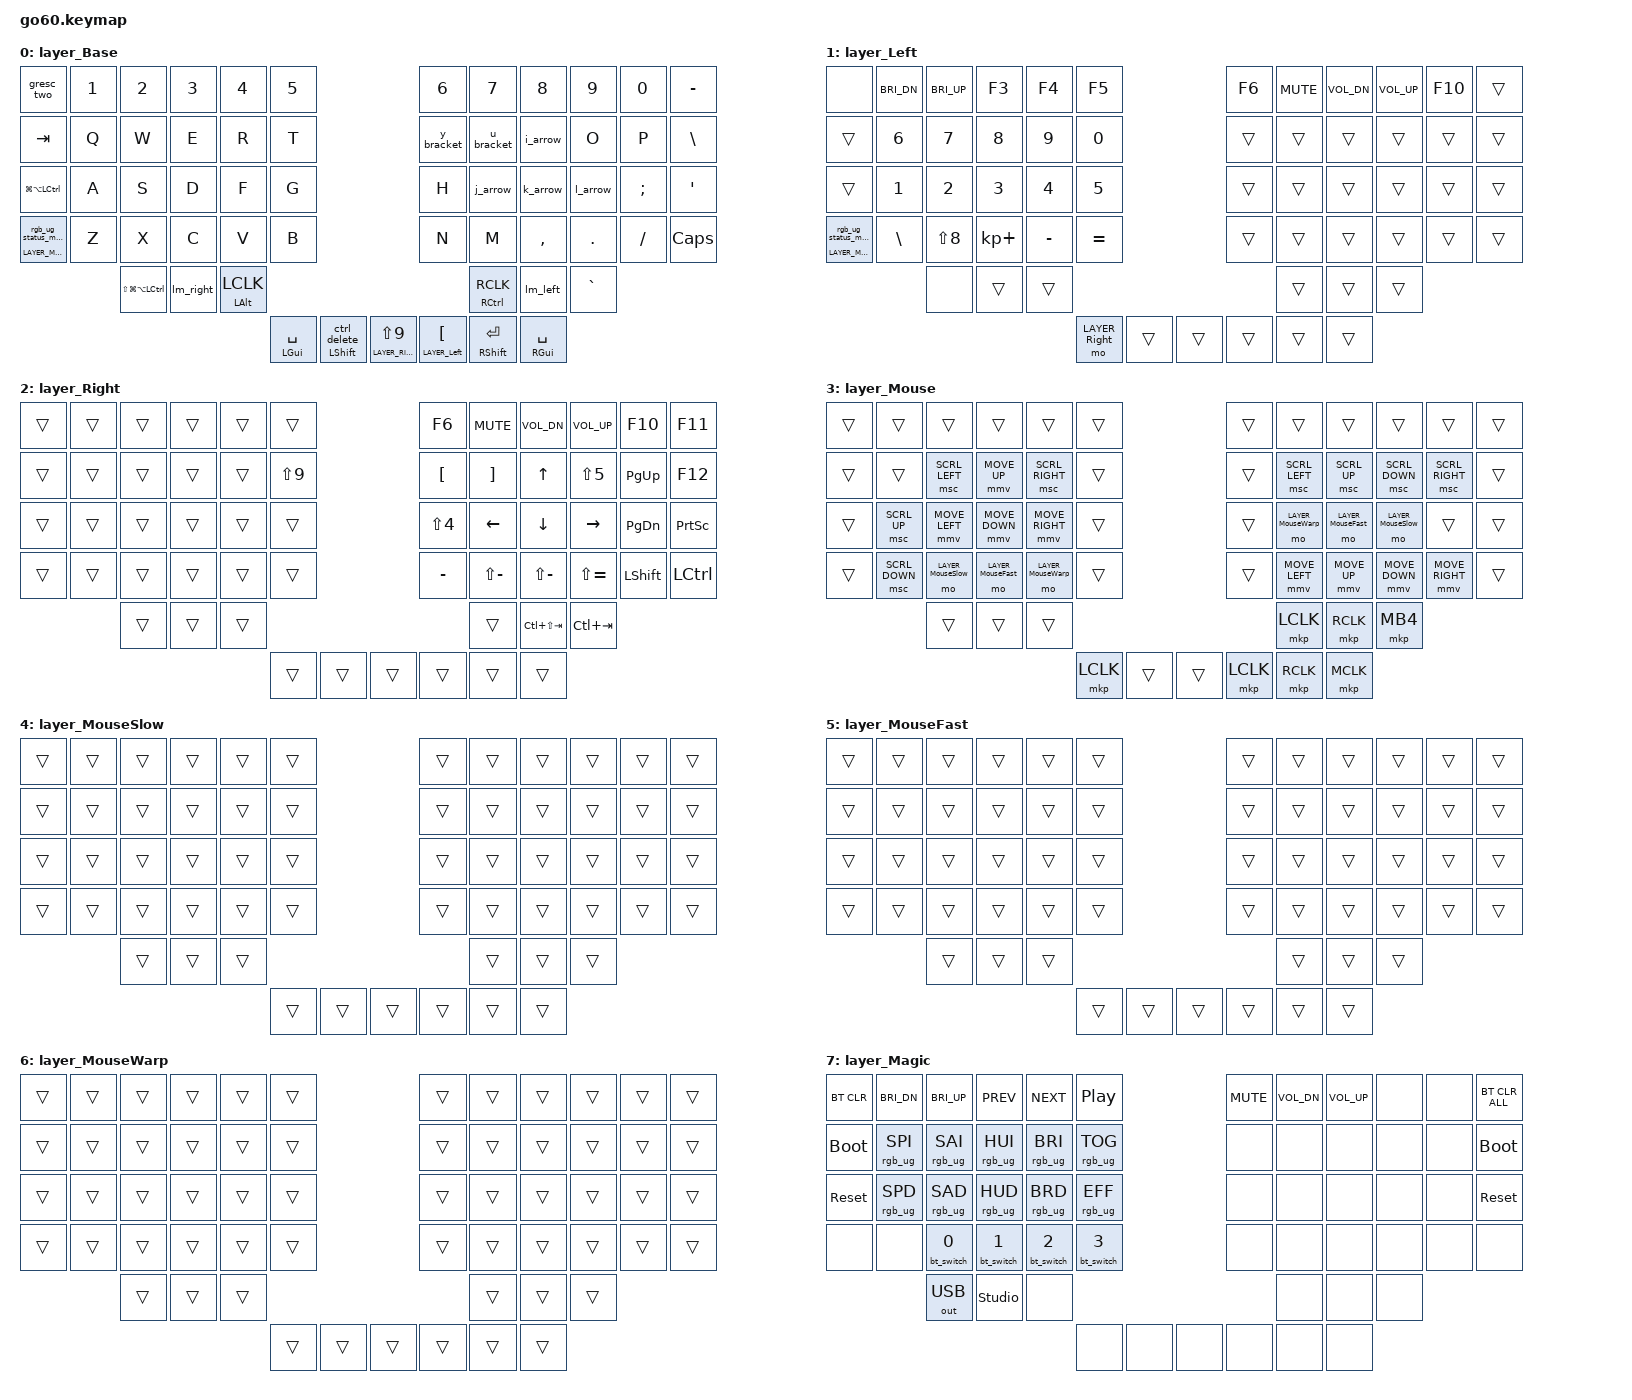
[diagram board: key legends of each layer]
/*
 * Copyright (c) 2020 The ZMK Contributors
 * Copyright (c) 2025 Innaworks Development Limited, trading as MoErgo
 *
 * SPDX-License-Identifier: MIT
 */


/* THIS FILE WAS GENERATED BY GO60 LAYOUT EDITOR
 *
 * This file was generated automatically. You may or may not want to
 * edit it directly.
 */

#include <behaviors.dtsi>

/* Include all behavior includes needed */

#include <dt-bindings/zmk/outputs.h>
#include <dt-bindings/zmk/keys.h>
#include <dt-bindings/zmk/bt.h>
#include <dt-bindings/zmk/rgb.h>

#include <input/processors.dtsi>
#include <dt-bindings/zmk/input_transform.h>
#include <zephyr/dt-bindings/input/input-event-codes.h>

/* On demand includes */
#include <dt-bindings/zmk/input_transform.h>
#include <dt-bindings/zmk/pointing.h>
#include <input/processors.dtsi>

/* Helper Macros, based on https://github.com/urob/zmk-helpers/ */

#pragma once

#define ZMK_HELPER_STRINGIFY(x) #x

// Preprocessor mechanism to overload macros, cf. https://stackoverflow.com/a/27051616/6114651
#define VARGS_(_10, _9, _8, _7, _6, _5, _4, _3, _2, _1, N, ...) N
#define VARGS(...) VARGS_(__VA_ARGS__, 10, 9, 8, 7, 6, 5, 4, 3, 2, 1, 0)
#define CONCAT_(a, b) a##b
#define CONCAT(a, b) CONCAT_(a, b)

#define ZMK_BEHAVIOR_CORE_tap_dance  \
    compatible = "zmk,behavior-tap-dance"; \
    #binding-cells = <0>

#define ZMK_BEHAVIOR(name, type, ...) \
    name: name { \
        ZMK_BEHAVIOR_CORE_ ## type; \
        __VA_ARGS__ \
    };

#define ZMK_TAP_DANCE(name, ...) \
    ZMK_BEHAVIOR(name, tap_dance, __VA_ARGS__)

#define ZMK_TD_LAYER(name, layer) \
    ZMK_TAP_DANCE(name, \
        tapping-term-ms = <200>; \
        bindings = <&mo layer>, <&to layer>; \
)





/* Key positions */

#define POS_LH_C6R1 0
#define POS_LH_C5R1 1
#define POS_LH_C4R1 2
#define POS_LH_C3R1 3
#define POS_LH_C2R1 4
#define POS_LH_C1R1 5
#define POS_RH_C1R1 6
#define POS_RH_C2R1 7
#define POS_RH_C3R1 8
#define POS_RH_C4R1 9
#define POS_RH_C5R1 10
#define POS_RH_C6R1 11
#define POS_LH_C6R2 12
#define POS_LH_C5R2 13
#define POS_LH_C4R2 14
#define POS_LH_C3R2 15
#define POS_LH_C2R2 16
#define POS_LH_C1R2 17
#define POS_RH_C1R2 18
#define POS_RH_C2R2 19
#define POS_RH_C3R2 20
#define POS_RH_C4R2 21
#define POS_RH_C5R2 22
#define POS_RH_C6R2 23
#define POS_LH_C6R3 24
#define POS_LH_C5R3 25
#define POS_LH_C4R3 26
#define POS_LH_C3R3 27
#define POS_LH_C2R3 28
#define POS_LH_C1R3 29
#define POS_RH_C1R3 30
#define POS_RH_C2R3 31
#define POS_RH_C3R3 32
#define POS_RH_C4R3 33
#define POS_RH_C5R3 34
#define POS_RH_C6R3 35
#define POS_LH_C6R4 36
#define POS_LH_C5R4 37
#define POS_LH_C4R4 38
#define POS_LH_C3R4 39
#define POS_LH_C2R4 40
#define POS_LH_C1R4 41
#define POS_RH_C1R4 42
#define POS_RH_C2R4 43
#define POS_RH_C3R4 44
#define POS_RH_C4R4 45
#define POS_RH_C5R4 46
#define POS_RH_C6R4 47
#define POS_LH_C4R5 48
#define POS_LH_C3R5 49
#define POS_LH_C2R5 50
#define POS_RH_C2R5 51
#define POS_RH_C3R5 52
#define POS_RH_C4R5 53
#define POS_LH_T1 54
#define POS_LH_T2 55
#define POS_LH_T3 56
#define POS_RH_T3 57
#define POS_RH_T2 58
#define POS_RH_T1 59


#define LEFT_HAND_KEYS \
  POS_LH_C1R1 POS_LH_C2R1 POS_LH_C3R1 POS_LH_C4R1 POS_LH_C5R1 POS_LH_C6R1 \
  POS_LH_C1R2 POS_LH_C2R2 POS_LH_C3R2 POS_LH_C4R2 POS_LH_C5R2 POS_LH_C6R2 \
  POS_LH_C1R3 POS_LH_C2R3 POS_LH_C3R3 POS_LH_C4R3 POS_LH_C5R3 POS_LH_C6R3 \
  POS_LH_C1R4 POS_LH_C2R4 POS_LH_C3R4 POS_LH_C4R4 POS_LH_C5R4 POS_LH_C6R4 \
              POS_LH_C2R5 POS_LH_C3R5 POS_LH_C4R5

#define RIGHT_HAND_KEYS \
  POS_RH_C1R1 POS_RH_C2R1 POS_RH_C3R1 POS_RH_C4R1 POS_RH_C5R1 POS_RH_C6R1 \
  POS_RH_C1R2 POS_RH_C2R2 POS_RH_C3R2 POS_RH_C4R2 POS_RH_C5R2 POS_RH_C6R2 \
  POS_RH_C1R3 POS_RH_C2R3 POS_RH_C3R3 POS_RH_C4R3 POS_RH_C5R3 POS_RH_C6R3 \
  POS_RH_C1R4 POS_RH_C2R4 POS_RH_C3R4 POS_RH_C4R4 POS_RH_C5R4 POS_RH_C6R4 \
              POS_RH_C2R5 POS_RH_C3R5 POS_RH_C4R5

#define THUMB_KEYS \
  POS_LH_T1 POS_LH_T2 POS_LH_T3 \
  POS_RH_T1 POS_RH_T2 POS_RH_T3

/* Environment and metadata defines */
#define KB_TYPE_GLOVE_80 1
#define KB_TYPE_GO_60    2

#define KB_TYPE          KB_TYPE_GO_60
#define EDITOR_LAYOUT_OS 'M'
#define EDITOR_HOST_OS   'M'

/* Automatically generated layer name defines */
#define LAYER_Base 0
#define LAYER_Left 1
#define LAYER_Right 2
#define LAYER_Mouse 3
#define LAYER_MouseSlow 4
#define LAYER_MouseFast 5
#define LAYER_MouseWarp 6
#define LAYER_Magic 7

/* To deal with the situation where there is no Lower layer, to keep &lower happy */
#ifndef LAYER_Lower
#define LAYER_Lower 0
#endif

/* Generated input processors */
/ {
    input_processors {
        zip_click_to_right_click_mapper: zip_click_to_right_click_mapper {
            compatible = "zmk,input-processor-code-mapper";
            #input-processor-cells = <0>;
            type = <INPUT_EV_KEY>;
            map = <INPUT_BTN_0 INPUT_BTN_1>;
        };
    };
};

/* Custom Device-tree */


/* Input Listeners */
&mmv_input_listener {
    // LAYER_MouseSlow
    LAYER_MouseSlow {
        layers = <LAYER_MouseSlow>;
        input-processors = <&zip_xy_scaler 1 9>;
    };
    // LAYER_MouseFast
    LAYER_MouseFast {
        layers = <LAYER_MouseFast>;
        input-processors = <&zip_xy_scaler 3 1>;
    };
    // LAYER_MouseWarp
    LAYER_MouseWarp {
        layers = <LAYER_MouseWarp>;
        input-processors = <&zip_xy_scaler 12 1>;
    };
};

&msc_input_listener {
    // LAYER_MouseSlow
    LAYER_MouseSlow {
        layers = <LAYER_MouseSlow>;
        input-processors = <&zip_scroll_scaler 1 9>;
    };
    // LAYER_MouseFast
    LAYER_MouseFast {
        layers = <LAYER_MouseFast>;
        input-processors = <&zip_scroll_scaler 3 1>;
    };
    // LAYER_MouseWarp
    LAYER_MouseWarp {
        layers = <LAYER_MouseWarp>;
        input-processors = <&zip_scroll_scaler 12 1>;
    };
};

&cirque_lh_listener {
    input-processors = <&zip_xy_scaler 4 5>, <&zip_xy_transform INPUT_TRANSFORM_Y_INVERT>, <&zip_xy_to_scroll_mapper>, <&zip_click_to_right_click_mapper>, <&zip_temp_layer LAYER_Mouse 250>;
    layer_MouseSlow {
        layers = <LAYER_MouseSlow>;
        input-processors = <&zip_xy_scaler 5 14>, <&zip_xy_transform INPUT_TRANSFORM_Y_INVERT>, <&zip_xy_to_scroll_mapper>, <&zip_click_to_right_click_mapper>, <&zip_temp_layer LAYER_Mouse 250>;
    };
    layer_MouseFast {
        layers = <LAYER_MouseFast>;
        input-processors = <&zip_xy_scaler 3 2>, <&zip_xy_transform INPUT_TRANSFORM_Y_INVERT>, <&zip_xy_to_scroll_mapper>, <&zip_click_to_right_click_mapper>, <&zip_temp_layer LAYER_Mouse 250>;
    };
    layer_MouseWarp {
        layers = <LAYER_MouseWarp>;
        input-processors = <&zip_xy_scaler 13 3>, <&zip_xy_transform INPUT_TRANSFORM_Y_INVERT>, <&zip_xy_to_scroll_mapper>, <&zip_click_to_right_click_mapper>, <&zip_temp_layer LAYER_Mouse 250>;
    };
};

&cirque_rh_listener {
    input-processors = <&zip_xy_scaler 2 1>, <&zip_temp_layer LAYER_Mouse 250>;
    layer_MouseSlow {
        layers = <LAYER_MouseSlow>;
        input-processors = <&zip_xy_scaler 1 1>, <&zip_temp_layer LAYER_Mouse 250>;
    };
    layer_MouseFast {
        layers = <LAYER_MouseFast>;
        input-processors = <&zip_xy_scaler 4 1>, <&zip_temp_layer LAYER_Mouse 250>;
    };
    layer_MouseWarp {
        layers = <LAYER_MouseWarp>;
        input-processors = <&zip_xy_scaler 7 1>, <&zip_temp_layer LAYER_Mouse 250>;
    };
};

/* System behavior and macros */
/ {
    behaviors {
        ZMK_TD_LAYER(lower, LAYER_Lower)
    };
};

/ {
    macros {
        rgb_ug_status_macro: rgb_ug_status_macro {
            label = "RGB_UG_STATUS";
            compatible = "zmk,behavior-macro";
            #binding-cells = <0>;
            bindings
                = <&rgb_ug RGB_STATUS>;
        };
    };
};

/ {
    macros {
        // Parametric BT host switch that also taps a unique chord so Blue Switch
        // on the current host can hand off the trackpad before the keyboard
        // hops profiles. Same chord on every Mac — destination is implicit
        // (the only peer). Bind LC+LA+LG+F19 in Blue Switch on each Mac.
        bt_switch: bt_switch {
            label = "BT_SWITCH";
            compatible = "zmk,behavior-macro-one-param";
            #binding-cells = <1>;
            bindings
                = <&kp LC(LA(LG(F19)))>,
                  <&out OUT_BLE>,
                  <&macro_param_1to2>,
                  <&bt BT_SEL MACRO_PLACEHOLDER>;
        };
    };
};

/ {
    behaviors {
        magic: magic {
            compatible = "zmk,behavior-hold-tap";
            label = "MAGIC_HOLD_TAP";
            #binding-cells = <2>;
            flavor = "tap-preferred";
            tapping-term-ms = <200>;
            bindings = <&mo>, <&rgb_ug_status_macro>;
        };
    };
};


/* Custom Defined Behaviors */
/ {
 behaviors {

    j_arrow: behavior-mod-morph-j {
            compatible = "zmk,behavior-mod-morph";
            #binding-cells = <0>;
            mods       = <(MOD_LALT|MOD_LGUI)>;
            keep-mods  = <(MOD_LALT|MOD_LGUI)>;
            bindings   = <&kp J>, <&kp LEFT>;
        };
        k_arrow: behavior-mod-morph-k {
            compatible = "zmk,behavior-mod-morph";
            #binding-cells = <0>;
            mods       = <(MOD_LALT|MOD_LGUI)>;
            keep-mods  = <(MOD_LALT|MOD_LGUI)>;
            bindings   = <&kp K>, <&kp DOWN>;
        };
        l_arrow: behavior-mod-morph-l {
            compatible = "zmk,behavior-mod-morph";
            #binding-cells = <0>;
            mods       = <(MOD_LALT|MOD_LGUI)>;
            keep-mods  = <(MOD_LALT|MOD_LGUI)>;
            bindings   = <&kp L>, <&kp RIGHT>;
        };
        i_arrow: behavior-mod-morph-i {
            compatible = "zmk,behavior-mod-morph";
            #binding-cells = <0>;
            mods       = <(MOD_LALT|MOD_LGUI)>;
            keep-mods  = <(MOD_LALT|MOD_LGUI)>;
            bindings   = <&kp I>, <&kp UP>;
        };
        y_bracket: behavior-mod-morph-y {
            compatible = "zmk,behavior-mod-morph";
            #binding-cells = <0>;
            mods       = <(MOD_LGUI)>;
            keep-mods  = <(MOD_LGUI)>;
            bindings   = <&kp Y>, <&kp LBKT>;
        };
        u_bracket: behavior-mod-morph-u {
            compatible = "zmk,behavior-mod-morph";
            #binding-cells = <0>;
            mods       = <(MOD_LGUI)>;
            keep-mods  = <(MOD_LGUI)>;
            bindings   = <&kp U>, <&kp RBKT>;
        };

        ctrl_delete: ctrl_delete {
            compatible = "zmk,behavior-mod-morph";
            #binding-cells = <0>;
            mods       = <(MOD_RCTL)>;
            bindings   = <&kp BSPC >, <&kp LA(BSPC)>;
keep-mods = <(MOD_RGUI|MOD_LGUI)>;


      };
        ctrl_delete_hold_tap: ctrl_delete_hold_tap {
            compatible = "zmk,behavior-hold-tap";
            #binding-cells = <2>;
    tapping-term-ms = <200>;
            bindings = <&kp>, <&ctrl_delete>;

      };
        gresc_two: gresc_two {
            compatible = "zmk,behavior-mod-morph";
            #binding-cells = <0>;
            bindings = <&kp ESC>, <&kp GRAVE>;
            mods = <(MOD_LSFT|MOD_RGUI|MOD_RSFT)>;
keep-mods = <(MOD_RGUI|MOD_LSFT)>;
        };

};
};

/* Automatically generated macro definitions */
/ {
    macros {

        lm_left: lm_left {
            label = "&LM_LEFT";
            compatible = "zmk,behavior-macro";
            #binding-cells = <0>;
            bindings = <&macro_press>
                , <&kp LSHFT>
                , <&mo LAYER_Left>
                , <&macro_pause_for_release>
                , <&macro_release>
                , <&kp LSHFT>
                , <&mo LAYER_Left>;
        };

        lm_right: lm_right {
            label = "&LM_RIGHT";
            compatible = "zmk,behavior-macro";
            #binding-cells = <0>;
            bindings = <&macro_press>
                , <&kp LSHFT>
                , <&mo LAYER_Right>
                , <&macro_pause_for_release>
                , <&macro_release>
                , <&kp LSHFT>
                , <&mo LAYER_Right>;
        };

        hyper_shift: hyper_shift {
            label = "&HYPER_SHIFT";
            compatible = "zmk,behavior-macro";
            #binding-cells = <0>;
            bindings = <&macro_press>
                , <&kp LG(LS(LA(LCTRL)))>
                , <&macro_pause_for_release>
                , <&macro_release>
                , <&kp LS(LG(LA(LCTRL)))>;
        };
    };
};

/* Automatically generated behavior definitions */
/ {
    behaviors {

        // Layer tap dance behaviors

        ZMK_TD_LAYER(td_LAYER_Left, 1)

        mod_click: mod_click {
            compatible = "zmk,behavior-hold-tap";
            #binding-cells = <2>;
            tapping-term-ms = <200>;
            bindings = <&kp>, <&mkp>;
        };

        mt_type: mt_type {
            compatible = "zmk,behavior-hold-tap";
            #binding-cells = <2>;
            tapping-term-ms = <150>;
            bindings = <&kp>, <&kp>;
            flavor = "balanced";
            require-prior-idle-ms = <100>;
        };

        mod_tap_custom: mod_tap_custom {
            compatible = "zmk,behavior-hold-tap";
            #binding-cells = <2>;
            tapping-term-ms = <200>;
            bindings = <&kp>, <&kp>;
        };
    };
};

/* Automatically generated combos definitions */


/* Automatically generated keymap */
/ {
    keymap {
        compatible = "zmk,keymap";


        layer_Base {
            bindings = <
           &gresc_two  &kp N1                      &kp N2     &kp N3                &kp N4  &kp N5                                                                                                                                        &kp N6                 &kp N7     &kp N8     &kp N9    &kp N0       &kp MINUS
              &kp TAB   &kp Q                       &kp W      &kp E                 &kp R   &kp T                                                                                                                                         &y_bracket             &u_bracket   &i_arrow      &kp O     &kp P        &kp BSLH
             &kp LG(LA(LCTRL))   &kp A                       &kp S      &kp D                 &kp F   &kp G                                                                                                                                         &kp H               &j_arrow   &k_arrow   &l_arrow  &kp SEMI         &kp SQT
 &magic LAYER_Magic 0   &kp Z                       &kp X      &kp C                 &kp V   &kp B                                                                                                                                         &kp N                  &kp M  &kp COMMA    &kp DOT  &kp FSLH  &kp CAPS
                               &kp LS(LG(LA(LCTRL)))   &lm_right  &mod_click LALT LCLK                                                                                                                                                        &mod_click RCTRL RCLK   &lm_left  &kp GRAVE
                                                                                                    &mt_type LGUI SPACE  &ctrl_delete_hold_tap  LSHFT 0  &lt LAYER_Right LS(N9)  &lt LAYER_Left LBKT  &mt RSHFT RET  &mt_type RGUI SPACE
            >;
        };

        layer_Left {
            bindings = <
                &none  &kp C_BRI_DN  &kp C_BRI_UP       &kp F3     &kp F4     &kp F5                                                           &kp F6  &kp C_MUTE  &kp C_VOL_DN  &kp C_VOL_UP  &kp F10  &trans
               &trans        &kp N6        &kp N7       &kp N8     &kp N9     &kp N0                                                           &trans      &trans        &trans        &trans   &trans  &trans
               &trans        &kp N1        &kp N2       &kp N3     &kp N4     &kp N5                                                           &trans      &trans        &trans        &trans   &trans  &trans
 &magic LAYER_Magic 0      &kp BSLH    &kp LS(N8)  &kp KP_PLUS  &kp MINUS  &kp EQUAL                                                           &trans      &trans        &trans        &trans   &trans  &trans
                                            &none       &trans     &trans                                                                                  &trans        &trans        &trans
                                                                                      &mo LAYER_Right  &trans  &trans  &trans  &trans  &trans
            >;
        };

        layer_Right {
            bindings = <
 &trans  &trans  &trans  &trans  &trans      &trans                                                      &kp F6     &kp C_MUTE     &kp C_VOL_DN   &kp C_VOL_UP    &kp F10    &kp F11
 &trans  &trans  &trans  &trans  &trans  &kp LS(N9)                                                    &kp LBKT       &kp RBKT           &kp UP     &kp LS(N5)  &kp PG_UP    &kp F12
 &trans  &trans  &trans  &trans  &trans      &trans                                                  &kp LS(N4)       &kp LEFT         &kp DOWN      &kp RIGHT  &kp PG_DN  &kp PSCRN
 &trans  &trans  &trans  &trans  &trans      &trans                                                   &kp MINUS  &kp LS(MINUS)    &kp LS(MINUS)  &kp LS(EQUAL)  &kp LSHFT  &kp LCTRL
                 &trans  &trans  &trans                                                                                 &trans  &kp LC(LS(TAB))    &kp LC(TAB)
                                                     &trans  &trans  &trans  &trans  &trans  &trans
            >;
        };

        layer_Mouse {
            bindings = <
 &trans          &trans               &trans               &trans               &trans  &trans                                                              &trans               &trans               &trans               &trans           &trans  &trans
 &trans          &trans       &msc SCRL_LEFT         &mmv MOVE_UP      &msc SCRL_RIGHT  &trans                                                              &trans       &msc SCRL_LEFT         &msc SCRL_UP       &msc SCRL_DOWN  &msc SCRL_RIGHT  &trans
 &trans    &msc SCRL_UP       &mmv MOVE_LEFT       &mmv MOVE_DOWN      &mmv MOVE_RIGHT  &trans                                                              &trans  &mo LAYER_MouseWarp  &mo LAYER_MouseFast  &mo LAYER_MouseSlow           &trans  &trans
 &trans  &msc SCRL_DOWN  &mo LAYER_MouseSlow  &mo LAYER_MouseFast  &mo LAYER_MouseWarp  &trans                                                              &trans       &mmv MOVE_LEFT         &mmv MOVE_UP       &mmv MOVE_DOWN  &mmv MOVE_RIGHT  &trans
                                      &trans               &trans               &trans                                                                                        &mkp LCLK            &mkp RCLK             &mkp MB4
                                                                                                &mkp LCLK  &trans  &trans  &mkp LCLK  &mkp RCLK  &mkp MCLK
            >;
        };

        layer_MouseSlow {
            bindings = <
 &trans  &trans  &trans  &trans  &trans  &trans                                                  &trans  &trans  &trans  &trans  &trans  &trans
 &trans  &trans  &trans  &trans  &trans  &trans                                                  &trans  &trans  &trans  &trans  &trans  &trans
 &trans  &trans  &trans  &trans  &trans  &trans                                                  &trans  &trans  &trans  &trans  &trans  &trans
 &trans  &trans  &trans  &trans  &trans  &trans                                                  &trans  &trans  &trans  &trans  &trans  &trans
                 &trans  &trans  &trans                                                                  &trans  &trans  &trans
                                                 &trans  &trans  &trans  &trans  &trans  &trans
            >;
        };

        layer_MouseFast {
            bindings = <
 &trans  &trans  &trans  &trans  &trans  &trans                                                  &trans  &trans  &trans  &trans  &trans  &trans
 &trans  &trans  &trans  &trans  &trans  &trans                                                  &trans  &trans  &trans  &trans  &trans  &trans
 &trans  &trans  &trans  &trans  &trans  &trans                                                  &trans  &trans  &trans  &trans  &trans  &trans
 &trans  &trans  &trans  &trans  &trans  &trans                                                  &trans  &trans  &trans  &trans  &trans  &trans
                 &trans  &trans  &trans                                                                  &trans  &trans  &trans
                                                 &trans  &trans  &trans  &trans  &trans  &trans
            >;
        };

        layer_MouseWarp {
            bindings = <
 &trans  &trans  &trans  &trans  &trans  &trans                                                  &trans  &trans  &trans  &trans  &trans  &trans
 &trans  &trans  &trans  &trans  &trans  &trans                                                  &trans  &trans  &trans  &trans  &trans  &trans
 &trans  &trans  &trans  &trans  &trans  &trans                                                  &trans  &trans  &trans  &trans  &trans  &trans
 &trans  &trans  &trans  &trans  &trans  &trans                                                  &trans  &trans  &trans  &trans  &trans  &trans
                 &trans  &trans  &trans                                                                  &trans  &trans  &trans
                                                 &trans  &trans  &trans  &trans  &trans  &trans
            >;
        };

        layer_Magic {
            bindings = <
  &bt BT_CLR     &kp C_BRI_DN     &kp C_BRI_UP       &kp C_PREV       &kp C_NEXT         &kp C_PP                                                  &kp C_MUTE  &kp C_VOL_DN  &kp C_VOL_UP   &none   &none  &bt BT_CLR_ALL
 &bootloader  &rgb_ug RGB_SPI  &rgb_ug RGB_SAI  &rgb_ug RGB_HUI  &rgb_ug RGB_BRI  &rgb_ug RGB_TOG                                                       &none         &none         &none   &none   &none     &bootloader
  &sys_reset  &rgb_ug RGB_SPD  &rgb_ug RGB_SAD  &rgb_ug RGB_HUD  &rgb_ug RGB_BRD  &rgb_ug RGB_EFF                                                       &none         &none         &none   &none   &none      &sys_reset
       &none            &none      &bt_switch 0     &bt_switch 1     &bt_switch 2     &bt_switch 3                                                       &none         &none         &none   &none   &none           &none
                                  &out OUT_USB   &studio_unlock            &none                                                                                      &none         &none   &none
                                                                                                    &none   &none   &none   &none   &none   &none
            >;
        };

    };
};
